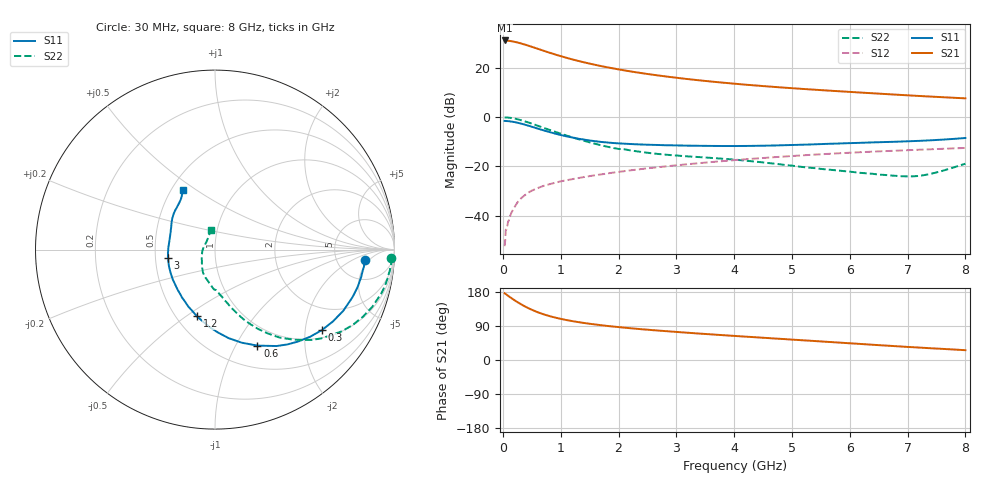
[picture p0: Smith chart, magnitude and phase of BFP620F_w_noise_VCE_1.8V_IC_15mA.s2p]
! Infineon Technologies  Discrete & RF Semiconductors
! BFP620F
! VCE =  1.8 V,  IC =  15 mA
! Common Emitter S-Parameters:  Dec 2014
# GHz  S  MA  R  50
!  f  S11  S21  S12  S22
! GHz  MAG  ANG  MAG  ANG  MAG  ANG  MAG  ANG
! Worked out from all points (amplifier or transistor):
!   95 points, 30 MHz to 8 GHz, reference 50 ohm
!   highest |S21| = 31.1 dB at 30 MHz (marker M1)
!   |S21| within 3 dB of that: start of sweep to 555.4 MHz
!   unconditionally stable (mu >= 1): 3.357 GHz to end of sweep
!   at 300 MHz: K = 0.24, MSG = 31.6 dB, |S12| = -33.3 dB
!   at 3.3 GHz: K = 1.00, MSG = 17.0 dB, |S12| = -18.9 dB
!   at 8 GHz: K = 1.07, MAG = 8.4 dB, |S12| = -12.5 dB
!   lowest NFmin = 0.71 dB at 450 MHz
!   S11 on the Smith chart (normalised r, x): 30 MHz: 10, -4; 300 MHz: 1.21, -2.45; 600 MHz: 0.76, -1.23; 1.2 GHz: 0.63, -0.55; 3 GHz: 0.58, -0.06; 8 GHz: 0.57, +0.44
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0.03  0.8362 -3.9  35.89 176.1  0.0024 73.3  0.9819 -2.7
0.08  0.8291 -10.5  35.65 170.6  0.0064 79.8  0.9775 -8.0
0.15  0.8096 -19.4  34.68 163.0  0.0116 79.1  0.957 -15.0
0.25  0.7686 -31.5  32.7 152.9  0.0184 74.0  0.9051 -24.4
0.3  0.7451 -37.1  31.55 148.4  0.0217 72.1  0.8739 -28.8
0.4  0.6903 -47.9  29.18 139.9  0.0271 68.6  0.8037 -36.4
0.45  0.6649 -52.6  27.89 136.1  0.0298 66.7  0.7714 -39.9
0.6  0.5846 -66.2  24.4 126.2  0.0362 63.2  0.6688 -48.7
0.7  0.5395 -74.0  22.29 120.8  0.04 61.1  0.6083 -53.7
0.8  0.4994 -81.2  20.37 116.2  0.0432 59.6  0.5534 -57.7
0.9  0.4629 -87.8  18.72 112.1  0.0464 58.6  0.5046 -61.4
1  0.4334 -93.9  17.25 108.6  0.0496 58.1  0.4615 -64.5
1.2  0.385 -105.1  14.83 102.6  0.055 57.2  0.389 -70.0
1.4  0.3499 -115.3  12.95 97.8  0.0606 56.5  0.3316 -74.8
1.9  0.2981 -136.9  9.759 88.4  0.0744 55.7  0.2373 -86.1
2.3  0.2805 -151.0  8.122 82.6  0.0855 54.8  0.2032 -95.7
2.7  0.271 -162.3  6.959 77.5  0.0966 53.6  0.1778 -103.1
3  0.2658 -169.8  6.286 74.1  0.105 52.6  0.1662 -108.3
4.1  0.2591 168.4  4.652 62.6  0.1362 48.0  0.1338 -121.4
5.4  0.2804 150.0  3.588 50.0  0.1733 40.6  0.0919 -143.4
6.7  0.3136 134.0  2.897 37.4  0.2058 32.2  0.0653 170.4
8  0.3762 118.6  2.4 25.9  0.2363 23.9  0.1131 102.3
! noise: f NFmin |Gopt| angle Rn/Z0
0.45  0.71  0.15  6  0.2
0.9  0.77  0.14  18  0.18
1.5  0.82  0.13  20  0.13
1.8  0.85  0.13  21  0.11
1.9  0.86  0.09  36  0.14
2.4  0.9  0.08  52  0.12
3.5  0.98  0.06  85  0.13
5.5  1.13  0.11  208  0.08
6  1.17  0.11  235  0.13
